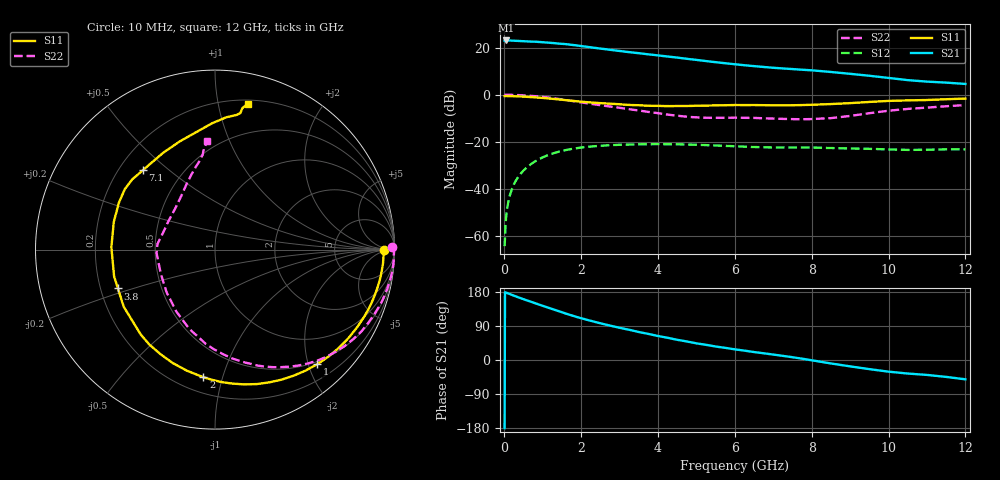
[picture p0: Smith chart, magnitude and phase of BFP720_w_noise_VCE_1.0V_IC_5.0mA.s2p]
! Infineon Technologies  Discrete & RF Semiconductors
! BFP720
! VCE =  1.0 V,  IC =  5.0 mA
! Common Emitter S-Parameters:  Aug 2012
# GHz  S  MA  R  50
!  f  S11  S21  S12  S22
! GHz  MAG  ANG  MAG  ANG  MAG  ANG  MAG  ANG
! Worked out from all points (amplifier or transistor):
!   105 points, 10 MHz to 12 GHz, reference 50 ohm
!   highest |S21| = 23.1 dB at 50 MHz (marker M1)
!   |S21| within 3 dB of that: start of sweep to 2.289 GHz
!   unconditionally stable (mu >= 1): start of sweep to 10.5 MHz; 6.79 GHz to end of sweep
!   at 300 MHz: K = 0.04, MSG = 29.8 dB, |S12| = -36.7 dB
!   at 3.6 GHz: K = 0.47, MSG = 19.3 dB, |S12| = -21.1 dB
!   at 12 GHz: K = 1.00, MAG = 13.5 dB, |S12| = -23.2 dB
!   lowest NFmin = 0.39 dB at 450 MHz
!   S11 on the Smith chart (normalised r, x): 10 MHz: 32, +0; 1 GHz: 0.45, -2.15; 2 GHz: 0.30, -0.87; 3.8 GHz: 0.27, -0.18; 7.1 GHz: 0.30, +0.41; 12 GHz: 0.23, +1.22
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0.01  0.939 0.0  14.15 -179.7  0.0006 -19.6  0.9857 0.7
0.02  0.9401 -1.0  14.11 178.9  0.0009 93.1  0.9976 -0.7
0.05  0.9395 -2.4  14.31 177.7  0.0025 86.5  0.9969 -1.8
0.2  0.9347 -9.5  14.18 171.8  0.0098 83.9  0.994 -7.4
0.45  0.917 -21.4  13.86 162.3  0.0219 76.7  0.9757 -16.5
0.8  0.8804 -38.6  13.48 150.0  0.0381 66.1  0.9338 -29.4
1  0.8557 -48.3  13.12 143.1  0.0465 60.2  0.9 -36.7
1.3  0.8136 -63.0  12.55 132.7  0.0576 51.5  0.841 -47.4
1.6  0.7682 -77.8  11.96 122.5  0.0665 43.4  0.7746 -57.3
2  0.7143 -95.2  10.89 110.3  0.0752 33.6  0.6896 -69.7
2.1  0.7016 -99.1  10.62 107.6  0.0767 31.4  0.6693 -72.3
2.8  0.6434 -124.5  8.963 89.6  0.0849 18.2  0.5555 -90.6
3.5  0.5999 -147.9  7.675 73.9  0.0884 7.6  0.4638 -108.0
3.8  0.5825 -158.2  7.177 67.8  0.0887 3.6  0.4262 -116.0
4.1  0.5771 -168.4  6.737 61.5  0.0889 -0.2  0.3946 -125.1
5  0.5845 164.8  5.522 43.9  0.0863 -10.4  0.331 -155.5
6.1  0.6044 144.8  4.377 26.8  0.0796 -18.3  0.3246 -178.5
7.1  0.5974 132.2  3.704 13.0  0.0755 -21.4  0.3092 166.8
8.5  0.6343 107.9  3.056 -9.1  0.0735 -27.9  0.3183 134.3
9.5  0.7035 91.4  2.537 -24.1  0.0707 -31.0  0.4048 112.4
10.5  0.7596 80.9  2.049 -35.7  0.0671 -32.6  0.5003 100.0
12  0.8301 77.4  1.7 -51.0  0.0689 -35.7  0.6042 94.0
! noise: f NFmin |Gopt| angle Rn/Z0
0.45  0.39  0.49  4  0.18
1.8  0.49  0.47  25  0.14
2.4  0.53  0.34  60  0.19
5.5  0.68  0.22  65  0.13
10  0.97  0.4  -93  0.22
